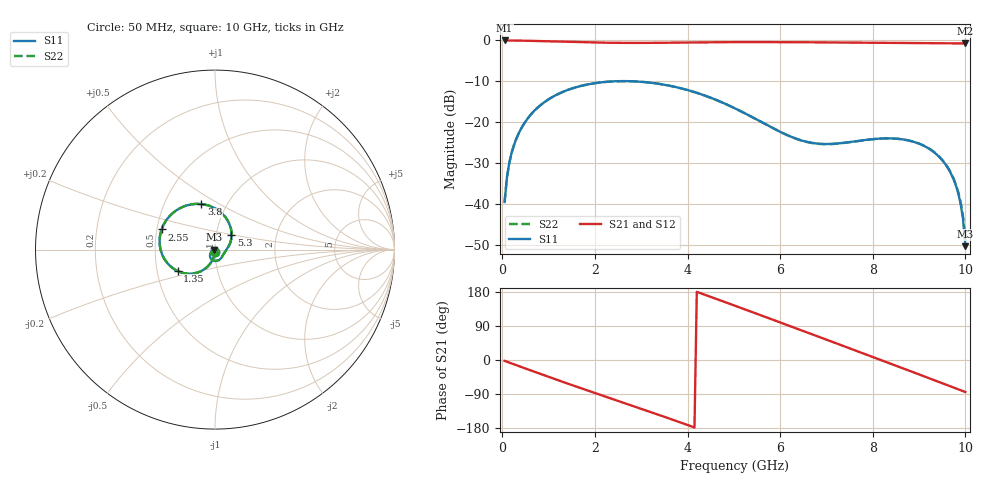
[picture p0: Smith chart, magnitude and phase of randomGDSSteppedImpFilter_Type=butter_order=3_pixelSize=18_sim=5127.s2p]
! freq	dB(S11)	phase(S11)	dB(S12)	phase(S12)
!  dB(S21)	phase(S21)	dB(S22)	phase(S22)
!S-par simulation data
#  GHz  S  DB  R 50
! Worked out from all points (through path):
!   200 points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, 50 MHz to 10 GHz, reference 50 ohm
!   highest |S21| = -0.01 dB at 50 MHz (marker M1); lowest = -0.7 dB at 10 GHz (marker M2)
!   group delay of S21, straight-line fit = 123 ps
!   lowest |S11| = -50.3 dB at 10 GHz (marker M3), VSWR 1.01, Z = 49.7 + j0.00207 ohm
!   |S11| at or under -10 dB: start of sweep to 2.413 GHz; 2.836 GHz to end of sweep
!   |S22| runs from -49.0 to -9.9 dB; largest |S21 - S12| = 0
!   S11 on the Smith chart (normalised r, x): 50 MHz: 1.00, -0.02; 1.35 GHz: 0.64, -0.16; 2.55 GHz: 0.53, +0.13; 3.8 GHz: 0.76, +0.41; 5.3 GHz: 1.18, +0.20; 10 GHz: 0.99, +0.00
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0.05  -39.50 -91.8  -0.01 -2.3  -0.01 -2.3  -39.50 -91.8
0.1  -33.50 -94.5  -0.01 -4.6  -0.01 -4.6  -33.50 -94.5
0.15  -30.01 -96.9  -0.02 -6.8  -0.02 -6.8  -30.01 -96.9
0.4  -21.71 -108.7  -0.05 -18.0  -0.05 -18.0  -21.71 -108.8
0.8  -16.06 -126.5  -0.15 -35.7  -0.15 -35.7  -16.06 -126.5
1.35  -12.38 -150.3  -0.33 -59.6  -0.33 -59.6  -12.38 -150.4
1.75  -10.98 -167.3  -0.45 -76.6  -0.45 -76.6  -10.99 -167.4
2.55  -9.95 159.3  -0.60 -110.0  -0.60 -110.0  -9.95 159.2
3.4  -10.64 123.8  -0.58 -145.6  -0.58 -145.6  -10.65 123.6
3.8  -11.54 106.7  -0.53 -162.8  -0.53 -162.8  -11.54 106.5
4.45  -13.80 78.6  -0.45 168.8  -0.45 168.8  -13.80 78.2
5.05  -16.75 52.6  -0.41 142.1  -0.41 142.1  -16.75 51.8
5.3  -18.18 41.8  -0.40 130.8  -0.40 130.8  -18.18 40.9
6  -22.34 12.7  -0.42 99.2  -0.42 99.2  -22.36 11.2
6.7  -25.07 -14.6  -0.46 67.4  -0.46 67.4  -25.11 -16.6
7.55  -24.77 -50.0  -0.52 28.6  -0.52 28.6  -24.81 -51.5
8.35  -23.95 -85.9  -0.60 -8.1  -0.60 -8.1  -23.96 -86.6
9.05  -25.48 -117.8  -0.66 -40.3  -0.66 -40.3  -25.46 -117.8
9.55  -30.00 -141.3  -0.70 -63.5  -0.70 -63.5  -29.91 -139.9
9.85  -37.57 -157.5  -0.72 -77.5  -0.72 -77.5  -37.25 -152.0
9.95  -43.81 -167.2  -0.73 -82.2  -0.73 -82.2  -43.12 -154.1
10  -50.31 179.6  -0.73 -84.6  -0.73 -84.6  -49.05 -152.2
